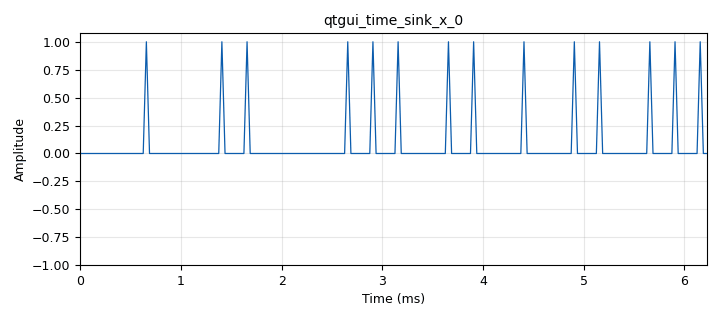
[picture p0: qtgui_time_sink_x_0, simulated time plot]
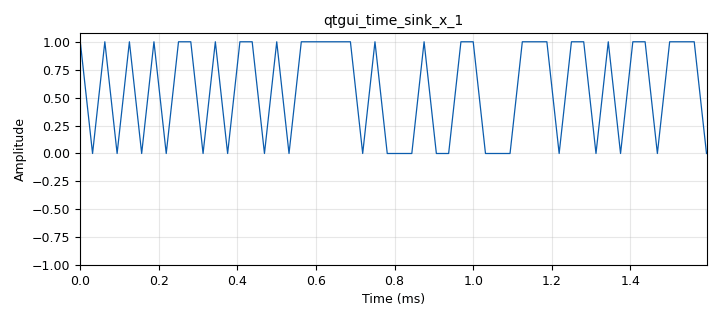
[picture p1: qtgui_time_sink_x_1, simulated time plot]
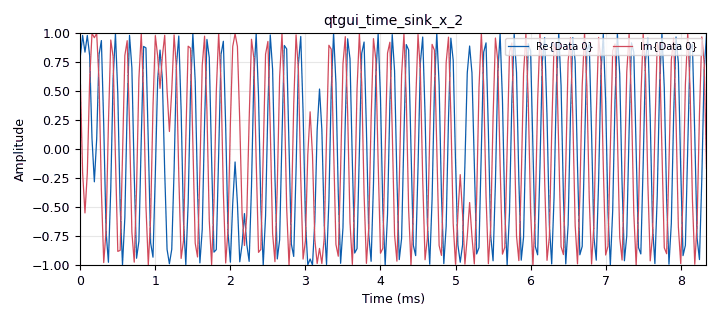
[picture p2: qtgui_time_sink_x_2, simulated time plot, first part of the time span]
<?xml version='1.0' encoding='utf-8'?>
<?grc format='1' created='3.7.12'?>
<flow_graph>
<block>
<key>options</key>
<param><key>id</key><value>vector_modulation</value></param>
<param><key>generate_options</key><value>qt_gui</value></param>
</block>
<block>
<key>variable</key>
<param><key>id</key><value>samp_rate</value></param>
<param><key>value</key><value>32000</value></param>
</block>
<block>
<key>blocks_file_sink</key>
<param><key>id</key><value>blocks_file_sink_0</value></param>
<param><key>file</key><value>/Users/mmohamoud/software_defined_radios/ble_collect/data/modulated_indentifier</value></param>
<param><key>type</key><value>complex</value></param>
</block>
<block>
<key>blocks_throttle</key>
<param><key>id</key><value>blocks_throttle_0</value></param>
<param><key>samples_per_second</key><value>4e3</value></param>
<param><key>type</key><value>byte</value></param>
</block>
<block>
<key>blocks_uchar_to_float</key>
<param><key>id</key><value>blocks_uchar_to_float_0_0</value></param>
</block>
<block>
<key>blocks_uchar_to_float</key>
<param><key>id</key><value>blocks_uchar_to_float_0_0_0</value></param>
</block>
<block>
<key>blocks_vector_source_x</key>
<param><key>id</key><value>blocks_vector_source_x_0</value></param>
<param><key>type</key><value>byte</value></param>
<param><key>repeat</key><value>False</value></param>
<param><key>vector</key><value>(1, 0, 1, 0, 1, 0, 1, 0, 1, 1, 0, 1, 0, 1, 1, 0, 1, 0, 1, 1, 1, 1, 1, 0, 1, 0, 0, 0, 1, 0, 0, 1, 1, 0, 0, 0, 1, 1, 1, 0, 1, 1, 0, 1, 0, 1, 1, 0, 1, 1, 1, 0)</value></param>
</block>
<block>
<key>digital_gfsk_demod</key>
<param><key>id</key><value>digital_gfsk_demod_0</value></param>
<param><key>freq_error</key><value>0.0</value></param>
<param><key>gain_mu</key><value>.5</value></param>
<param><key>mu</key><value>0.5</value></param>
<param><key>omega_relative_limit</key><value>0.05</value></param>
<param><key>samples_per_symbol</key><value>4</value></param>
<param><key>sensitivity</key><value>1.0</value></param>
</block>
<block>
<key>digital_gfsk_mod</key>
<param><key>id</key><value>digital_gfsk_mod_0</value></param>
<param><key>bt</key><value>0.5</value></param>
<param><key>samples_per_symbol</key><value>4</value></param>
<param><key>sensitivity</key><value>1.0</value></param>
</block>
<block>
<key>qtgui_time_sink_x</key>
<param><key>id</key><value>qtgui_time_sink_x_0</value></param>
<param><key>color1</key><value>"blue"</value></param>
<param><key>label1</key><value></value></param>
<param><key>size</key><value>200</value></param>
<param><key>srate</key><value>samp_rate</value></param>
<param><key>type</key><value>float</value></param>
</block>
<block>
<key>qtgui_time_sink_x</key>
<param><key>id</key><value>qtgui_time_sink_x_1</value></param>
<param><key>color1</key><value>"blue"</value></param>
<param><key>label1</key><value></value></param>
<param><key>size</key><value>200</value></param>
<param><key>srate</key><value>samp_rate</value></param>
<param><key>type</key><value>float</value></param>
</block>
<block>
<key>qtgui_time_sink_x</key>
<param><key>id</key><value>qtgui_time_sink_x_2</value></param>
<param><key>color1</key><value>"blue"</value></param>
<param><key>label1</key><value></value></param>
<param><key>color2</key><value>"red"</value></param>
<param><key>label2</key><value></value></param>
<param><key>size</key><value>1024</value></param>
<param><key>srate</key><value>samp_rate</value></param>
<param><key>type</key><value>complex</value></param>
</block>
<connection><source_block_id>blocks_throttle_0</source_block_id><sink_block_id>blocks_uchar_to_float_0_0</sink_block_id><source_key>0</source_key><sink_key>0</sink_key></connection>
<connection><source_block_id>blocks_throttle_0</source_block_id><sink_block_id>digital_gfsk_mod_0</sink_block_id><source_key>0</source_key><sink_key>0</sink_key></connection>
<connection><source_block_id>blocks_uchar_to_float_0_0</source_block_id><sink_block_id>qtgui_time_sink_x_1</sink_block_id><source_key>0</source_key><sink_key>0</sink_key></connection>
<connection><source_block_id>blocks_uchar_to_float_0_0_0</source_block_id><sink_block_id>qtgui_time_sink_x_0</sink_block_id><source_key>0</source_key><sink_key>0</sink_key></connection>
<connection><source_block_id>blocks_vector_source_x_0</source_block_id><sink_block_id>blocks_throttle_0</sink_block_id><source_key>0</source_key><sink_key>0</sink_key></connection>
<connection><source_block_id>digital_gfsk_demod_0</source_block_id><sink_block_id>blocks_uchar_to_float_0_0_0</sink_block_id><source_key>0</source_key><sink_key>0</sink_key></connection>
<connection><source_block_id>digital_gfsk_mod_0</source_block_id><sink_block_id>blocks_file_sink_0</sink_block_id><source_key>0</source_key><sink_key>0</sink_key></connection>
<connection><source_block_id>digital_gfsk_mod_0</source_block_id><sink_block_id>digital_gfsk_demod_0</sink_block_id><source_key>0</source_key><sink_key>0</sink_key></connection>
<connection><source_block_id>digital_gfsk_mod_0</source_block_id><sink_block_id>qtgui_time_sink_x_2</sink_block_id><source_key>0</source_key><sink_key>0</sink_key></connection>
</flow_graph>
